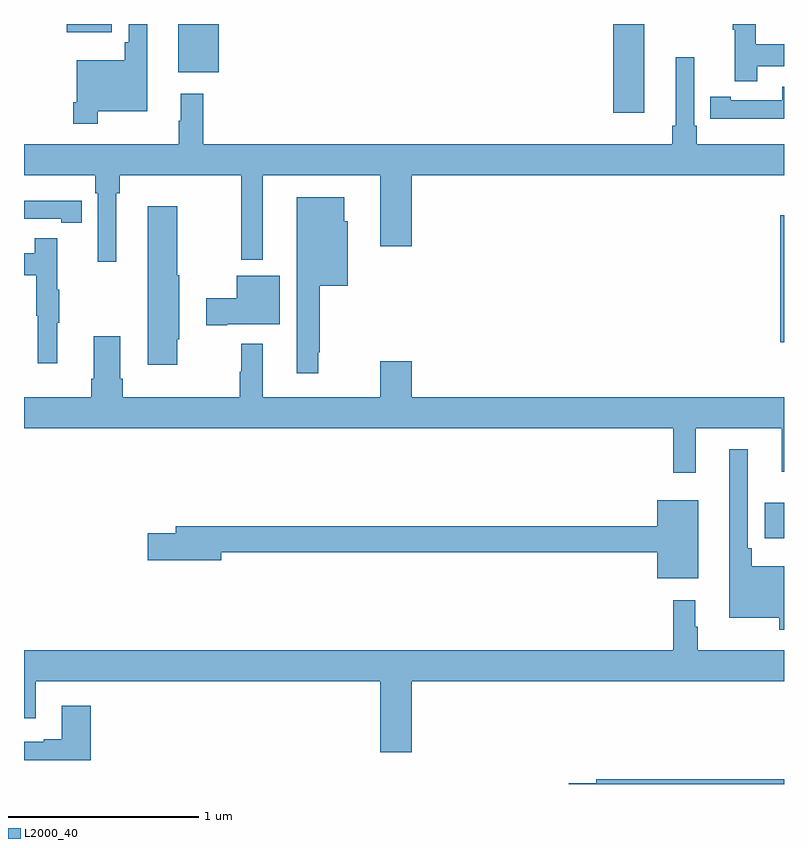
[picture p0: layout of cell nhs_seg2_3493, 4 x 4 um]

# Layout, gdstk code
import gdstk
lib = gdstk.Library(unit=1e-6, precision=1e-09)
def R(c, l, rs):  # rectangles x0, y0, x1, y1
    for r in rs: c.add(gdstk.rectangle(r[:2], r[2:], *l))
def P(c, l, *ps):  # polygons
    for p in ps: c.add(gdstk.Polygon(p, *l))
L2000_40 = (2000, 40)

nhs_seg2_3493 = lib.new_cell('nhs_seg2_3493')
R(nhs_seg2_3493, L2000_40, [(298.898,611.093,299,611.281), (298.981,612.124,299,612.793), (298.1,613.332,298.264,613.8), (295.811,613.547,296.026,613.8), (295.226,613.757,295.462,613.8)])
P(nhs_seg2_3493, L2000_40, [(298.859,613.578),(299,613.578),(299,613.694),(298.852,613.694),(298.852,613.8),(298.731,613.8),(298.731,613.771),(298.742,613.771),(298.742,613.5),(298.859,613.5)],
  [(295.387,613.34),(295.648,613.34),(295.648,613.8),(295.551,613.8),(295.551,613.705),(295.531,613.705),(295.531,613.609),(295.278,613.609),(295.278,613.387),(295.258,613.387),(295.258,613.275),(295.387,613.275)],
  [(295.486,612.908),(295.505,612.908),(295.505,613.004),(296.143,613.004),(296.143,612.56),(296.257,612.56),(296.257,613.004),(296.876,613.004),(296.876,612.63),(297.04,612.63),(297.04,613.004),(299,613.004),(299,613.168),(298.541,613.168),(298.541,613.264),(298.527,613.264),(298.527,613.624),(298.43,613.624),(298.43,613.264),(298.411,613.264),(298.411,613.168),(295.943,613.168),(295.943,613.432),(295.826,613.432),(295.826,613.292),(295.815,613.292),(295.815,613.168),(295,613.168),(295,613.004),(295.376,613.004),(295.376,612.908),(295.389,612.908),(295.389,612.549),(295.486,612.549)],
  [(299,613.47),(298.992,613.47),(298.992,613.398),(298.72,613.398),(298.72,613.418),(298.612,613.418),(298.612,613.302),(298.72,613.302),(298.72,613.301),(299,613.301)],
  [(296.549,612.073),(296.557,612.073),(296.557,612.422),(296.704,612.422),(296.704,612.762),(296.686,612.762),(296.686,612.889),(296.435,612.889),(296.435,611.961),(296.549,611.961)],
  [(295.304,612.87),(295.196,612.87),(295.196,612.871),(295,612.871),(295,612.774),(295.196,612.774),(295.196,612.754),(295.304,612.754)],
  [(295.806,612.141),(295.816,612.141),(295.816,612.477),(295.806,612.477),(295.806,612.841),(295.652,612.841),(295.652,612.006),(295.806,612.006)],
  [(295.175,612.227),(295.186,612.227),(295.186,612.401),(295.175,612.401),(295.175,612.673),(295.057,612.673),(295.057,612.594),(295,612.594),(295,612.478),(295.065,612.478),(295.065,612.264),(295.072,612.264),(295.072,612.015),(295.175,612.015)],
  [(296.071,612.221),(296.347,612.221),(296.347,612.475),(296.12,612.475),(296.12,612.356),(295.959,612.356),(295.959,612.214),(296.071,612.214)],
  [(298.535,611.672),(298.988,611.672),(298.988,611.444),(299,611.444),(299,611.836),(297.04,611.836),(297.04,612.025),(296.876,612.025),(296.876,611.836),(296.257,611.836),(296.257,612.118),(296.143,612.118),(296.143,611.969),(296.136,611.969),(296.136,611.836),(295.52,611.836),(295.52,611.932),(295.507,611.932),(295.507,612.157),(295.367,612.157),(295.367,611.932),(295.355,611.932),(295.355,611.836),(295,611.836),(295,611.672),(298.417,611.672),(298.417,611.439),(298.535,611.439)],
  [(299,610.945),(298.829,610.945),(298.829,611.041),(298.809,611.041),(298.809,611.563),(298.712,611.563),(298.712,610.676),(298.974,610.676),(298.974,610.611),(299,610.611)],
  [(298.549,611.293),(298.334,611.293),(298.334,611.156),(295.799,611.156),(295.799,611.12),(295.65,611.12),(295.65,610.978),(296.038,610.978),(296.038,611.02),(298.334,611.02),(298.334,610.883),(298.549,610.883)],
  [(297.04,610.34),(299,610.34),(299,610.504),(298.546,610.504),(298.546,610.628),(298.534,610.628),(298.534,610.768),(298.417,610.768),(298.417,610.504),(295,610.504),(295,610.146),(295.063,610.146),(295.063,610.34),(296.876,610.34),(296.876,609.966),(297.04,609.966)],
  [(295.352,610.213),(295.199,610.213),(295.199,610.036),(295.103,610.036),(295.103,610.023),(295,610.023),(295,609.926),(295.352,609.926)],
  [(299,609.824),(298.012,609.824),(298.012,609.804),(297.866,609.804),(297.866,609.8),(299,609.8)])

lib.write_gds('nhs_seg2_3493.gds')
